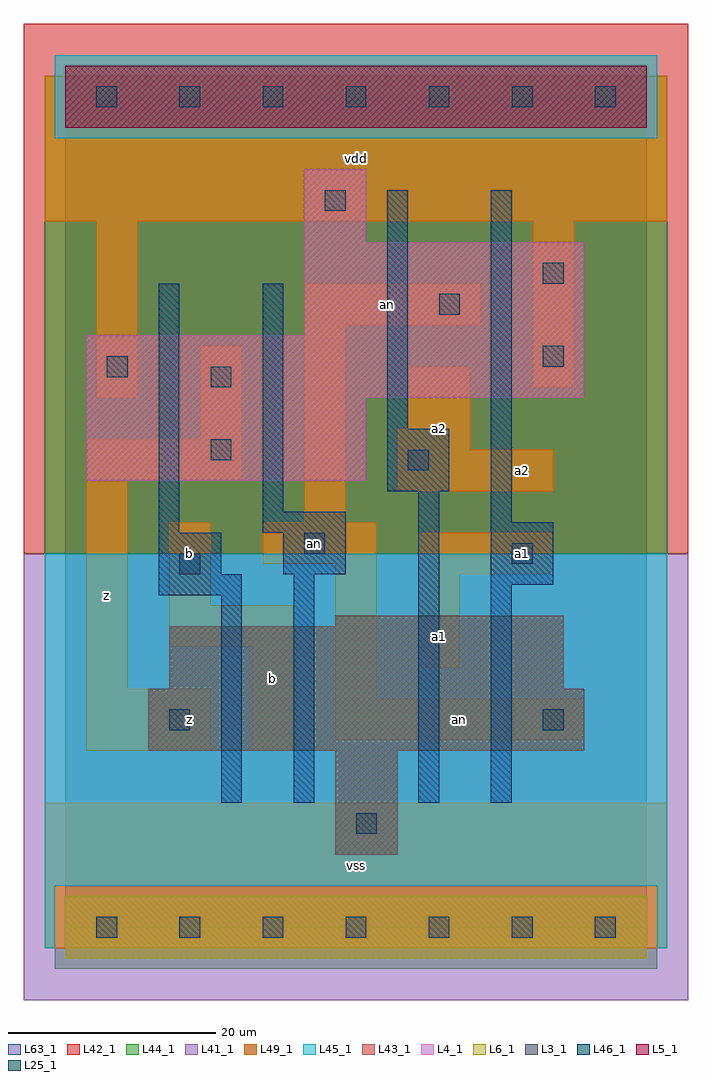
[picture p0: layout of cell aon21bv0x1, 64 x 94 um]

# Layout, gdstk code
import gdstk
lib = gdstk.Library(unit=1e-6, precision=1e-09)
def R(c, l, rs):  # rectangles x0, y0, x1, y1
    for r in rs: c.add(gdstk.rectangle(r[:2], r[2:], *l))
def A(c, l, x, y, w, h, nx, ny, dx, dy):  # array of equal rectangles
    R(c, l, [(x+i*dx, y+j*dy, x+i*dx+w, y+j*dy+h) for i in range(nx) for j in range(ny)])
L3_1 = (3, 1)
L4_1 = (4, 1)
L5_1 = (5, 1)
L6_1 = (6, 1)
L25_1 = (25, 1)
L41_1 = (41, 1)
L42_1 = (42, 1)
L43_1 = (43, 1)
L44_1 = (44, 1)
L45_1 = (45, 1)
L46_1 = (46, 1)
L49_1 = (49, 1)
L63_1 = (63, 1)

aon21bv0x1 = lib.new_cell('aon21bv0x1')
R(aon21bv0x1, L3_1, [(26,7,32,17), (8,17,50,23), (10,23,48,29), (26,29,48,30)])
R(aon21bv0x1, L4_1, [(2,43,29,51), (2,51,50,57), (23,57,50,66), (23,66,29,73)])
R(aon21bv0x1, L5_1, [(0,77,56,83)])
R(aon21bv0x1, L6_1, [(0,-3,56,3), (0,-3,56,3)])
A(aon21bv0x1, L25_1, 3, -1, 2, 2, 7, 2, 8, 80)
R(aon21bv0x1, L25_1, [(28,9,30,11), (10,19,12,21), (46,19,48,21), (11,34,13,36), (43,35,45,37), (23,36,25,38), (33,44,35,46), (14,45,16,47), (14,52,16,54), (4,53,6,55), (46,54,48,56), (36,59,38,61), (46,62,48,64), (25,69,27,71)])
R(aon21bv0x1, L41_1, [(-4,-7,60,36)])
R(aon21bv0x1, L42_1, [(-4,36,60,87)])
R(aon21bv0x1, L43_1, [(0,-3,56,3), (26,7,32,17), (8,17,50,23), (10,23,48,29), (26,29,48,30), (2,43,29,51), (2,51,50,57), (23,57,50,66), (23,66,29,73), (0,77,56,83)])
R(aon21bv0x1, L44_1, [(-1,-4,57,4), (-2,36,58,76), (-2,76,-1,82), (57,76,58,82)])
R(aon21bv0x1, L45_1, [(-2,-2,-1,4), (57,-2,58,4), (-2,4,58,36), (-1,76,57,84)])
R(aon21bv0x1, L46_1, [(15,12,17,32), (22,12,24,34), (34,12,36,42), (41,12,43,33), (9,32,17,34), (41,33,47,39), (9,34,15,38), (21,34,27,38), (9,38,11,62), (19,38,27,40), (41,39,43,71), (19,40,21,62), (31,42,37,48), (31,48,33,71)])
R(aon21bv0x1, L49_1, [(-2,-2,58,12), (2,17,14,23), (18,17,22,27), (26,18,50,22), (26,22,30,35), (2,23,6,43), (34,25,38,34), (10,27,22,31), (10,31,14,39), (34,34,47,38), (19,35,30,39), (23,39,27,58), (32,42,47,46), (2,43,17,47), (32,46,39,48), (13,47,17,56), (33,48,39,54), (3,51,7,68), (45,52,49,68), (23,58,40,62), (-2,68,58,82)])
R(aon21bv0x1, L63_1, [(0,0,56,80)])
aon21bv0x1.add(gdstk.Label('an', (24,37), layer=49, texttype=1))
aon21bv0x1.add(gdstk.Label('z', (4,32), layer=49, texttype=1))
aon21bv0x1.add(gdstk.Label('z', (12,20), layer=49, texttype=1))
aon21bv0x1.add(gdstk.Label('b', (12,36), layer=49, texttype=1))
aon21bv0x1.add(gdstk.Label('b', (20,24), layer=49, texttype=1))
aon21bv0x1.add(gdstk.Label('vss', (28,6), layer=49, texttype=1))
aon21bv0x1.add(gdstk.Label('an', (24,37), layer=49, texttype=1))
aon21bv0x1.add(gdstk.Label('a1', (36,28), layer=49, texttype=1))
aon21bv0x1.add(gdstk.Label('a2', (36,48), layer=49, texttype=1))
aon21bv0x1.add(gdstk.Label('an', (31,60), layer=49, texttype=1))
aon21bv0x1.add(gdstk.Label('vdd', (28,74), layer=49, texttype=1))
aon21bv0x1.add(gdstk.Label('an', (38,20), layer=49, texttype=1))
aon21bv0x1.add(gdstk.Label('a1', (44,36), layer=49, texttype=1))
aon21bv0x1.add(gdstk.Label('a2', (44,44), layer=49, texttype=1))

lib.write_gds('aon21bv0x1.gds')
